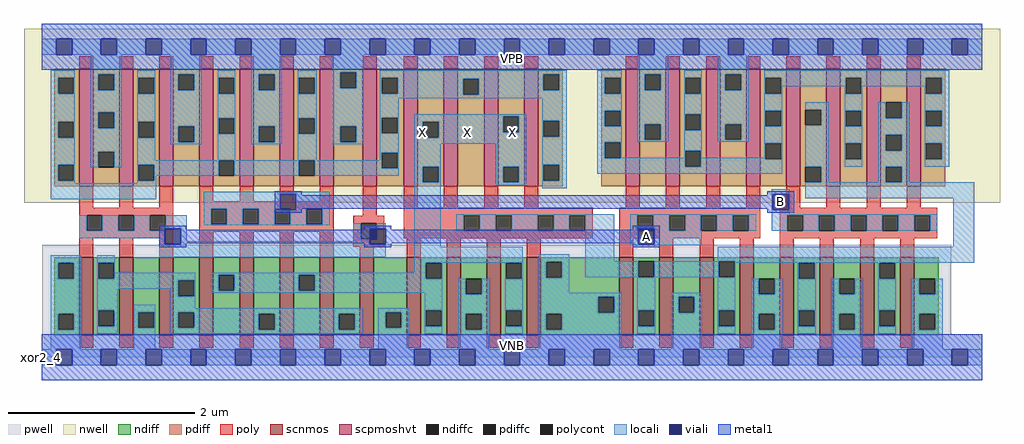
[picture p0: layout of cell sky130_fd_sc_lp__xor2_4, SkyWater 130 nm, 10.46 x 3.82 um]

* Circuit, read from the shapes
.subckt sky130_fd_sc_lp__xor2_4 A B VGND VNB VPB VPWR X
XM1 n1 A VGND VNB sky130_fd_pr__nfet_01v8 w=0.84 l=0.15 m=4
XM2 X B n1 VNB sky130_fd_pr__nfet_01v8 w=0.84 l=0.15 m=4
XM3 X n2 VGND VNB sky130_fd_pr__nfet_01v8 w=0.84 l=0.15 m=4
XM4 n2 A VGND VNB sky130_fd_pr__nfet_01v8 w=0.84 l=0.15 m=4
XM5 n2 B VGND VNB sky130_fd_pr__nfet_01v8 w=0.84 l=0.15 m=4
XM6 VPWR A n3 VPB sky130_fd_pr__pfet_01v8_hvt w=1.26 l=0.15 m=4
XM7 n3 B VPWR VPB sky130_fd_pr__pfet_01v8_hvt w=1.26 l=0.15 m=4
XM8 X n2 n3 VPB sky130_fd_pr__pfet_01v8_hvt w=1.26 l=0.15 m=4
XM9 VPWR A n4 VPB sky130_fd_pr__pfet_01v8_hvt w=1.26 l=0.15 m=4
XM10 n2 B n4 VPB sky130_fd_pr__pfet_01v8_hvt w=1.26 l=0.15 m=4
.ends

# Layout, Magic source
magic
tech sky130A
magscale 1 2
<< nwell >>
rect -38 331 2054 704
<< pwell >>
rect 1 49 1949 241
rect 0 0 2016 49
<< scnmos >>
rect 80 47 110 215
rect 166 47 196 215
rect 252 47 282 215
rect 338 47 368 215
rect 424 47 454 215
rect 510 47 540 215
rect 596 47 626 215
rect 682 47 712 215
rect 782 47 812 215
rect 868 47 898 215
rect 954 47 984 215
rect 1040 47 1070 215
rect 1238 47 1268 215
rect 1324 47 1354 215
rect 1410 47 1440 215
rect 1496 47 1526 215
rect 1582 47 1612 215
rect 1668 47 1698 215
rect 1754 47 1784 215
rect 1840 47 1870 215
<< scpmoshvt >>
rect 80 367 110 619
rect 166 367 196 619
rect 252 367 282 619
rect 338 367 368 619
rect 424 367 454 619
rect 510 367 540 619
rect 596 367 626 619
rect 688 367 718 619
rect 776 367 806 619
rect 862 367 892 619
rect 948 367 978 619
rect 1034 367 1064 619
rect 1252 367 1282 619
rect 1338 367 1368 619
rect 1424 367 1454 619
rect 1510 367 1540 619
rect 1596 367 1626 619
rect 1682 367 1712 619
rect 1768 367 1798 619
rect 1854 367 1884 619
<< ndiff >>
rect 27 203 80 215
rect 27 169 35 203
rect 69 169 80 203
rect 27 93 80 169
rect 27 59 35 93
rect 69 59 80 93
rect 27 47 80 59
rect 110 203 166 215
rect 110 169 121 203
rect 155 169 166 203
rect 110 101 166 169
rect 110 67 121 101
rect 155 67 166 101
rect 110 47 166 67
rect 196 97 252 215
rect 196 63 207 97
rect 241 63 252 97
rect 196 47 252 63
rect 282 165 338 215
rect 282 131 293 165
rect 327 131 338 165
rect 282 97 338 131
rect 282 63 293 97
rect 327 63 338 97
rect 282 47 338 63
rect 368 177 424 215
rect 368 143 379 177
rect 413 143 424 177
rect 368 47 424 143
rect 454 93 510 215
rect 454 59 465 93
rect 499 59 510 93
rect 454 47 510 59
rect 540 177 596 215
rect 540 143 551 177
rect 585 143 596 177
rect 540 47 596 143
rect 626 93 682 215
rect 626 59 637 93
rect 671 59 682 93
rect 626 47 682 59
rect 712 97 782 215
rect 712 63 737 97
rect 771 63 782 97
rect 712 47 782 63
rect 812 203 868 215
rect 812 169 823 203
rect 857 169 868 203
rect 812 101 868 169
rect 812 67 823 101
rect 857 67 868 101
rect 812 47 868 67
rect 898 169 954 215
rect 898 135 909 169
rect 943 135 954 169
rect 898 93 954 135
rect 898 59 909 93
rect 943 59 954 93
rect 898 47 954 59
rect 984 203 1040 215
rect 984 169 995 203
rect 1029 169 1040 203
rect 984 101 1040 169
rect 984 67 995 101
rect 1029 67 1040 101
rect 984 47 1040 67
rect 1070 205 1238 215
rect 1070 171 1081 205
rect 1115 171 1238 205
rect 1070 130 1238 171
rect 1070 96 1193 130
rect 1227 96 1238 130
rect 1070 93 1238 96
rect 1070 59 1081 93
rect 1115 59 1238 93
rect 1070 47 1238 59
rect 1268 206 1324 215
rect 1268 172 1279 206
rect 1313 172 1324 206
rect 1268 101 1324 172
rect 1268 67 1279 101
rect 1313 67 1324 101
rect 1268 47 1324 67
rect 1354 130 1410 215
rect 1354 96 1365 130
rect 1399 96 1410 130
rect 1354 47 1410 96
rect 1440 206 1496 215
rect 1440 172 1451 206
rect 1485 172 1496 206
rect 1440 101 1496 172
rect 1440 67 1451 101
rect 1485 67 1496 101
rect 1440 47 1496 67
rect 1526 169 1582 215
rect 1526 135 1537 169
rect 1571 135 1582 169
rect 1526 93 1582 135
rect 1526 59 1537 93
rect 1571 59 1582 93
rect 1526 47 1582 59
rect 1612 203 1668 215
rect 1612 169 1623 203
rect 1657 169 1668 203
rect 1612 101 1668 169
rect 1612 67 1623 101
rect 1657 67 1668 101
rect 1612 47 1668 67
rect 1698 169 1754 215
rect 1698 135 1709 169
rect 1743 135 1754 169
rect 1698 93 1754 135
rect 1698 59 1709 93
rect 1743 59 1754 93
rect 1698 47 1754 59
rect 1784 203 1840 215
rect 1784 169 1795 203
rect 1829 169 1840 203
rect 1784 101 1840 169
rect 1784 67 1795 101
rect 1829 67 1840 101
rect 1784 47 1840 67
rect 1870 169 1923 215
rect 1870 135 1881 169
rect 1915 135 1923 169
rect 1870 93 1923 135
rect 1870 59 1881 93
rect 1915 59 1923 93
rect 1870 47 1923 59
<< pdiff >>
rect 27 599 80 619
rect 27 565 35 599
rect 69 565 80 599
rect 27 505 80 565
rect 27 471 35 505
rect 69 471 80 505
rect 27 413 80 471
rect 27 379 35 413
rect 69 379 80 413
rect 27 367 80 379
rect 110 607 166 619
rect 110 573 121 607
rect 155 573 166 607
rect 110 525 166 573
rect 110 491 121 525
rect 155 491 166 525
rect 110 441 166 491
rect 110 407 121 441
rect 155 407 166 441
rect 110 367 166 407
rect 196 599 252 619
rect 196 565 207 599
rect 241 565 252 599
rect 196 505 252 565
rect 196 471 207 505
rect 241 471 252 505
rect 196 413 252 471
rect 196 379 207 413
rect 241 379 252 413
rect 196 367 252 379
rect 282 607 338 619
rect 282 573 293 607
rect 327 573 338 607
rect 282 495 338 573
rect 282 461 293 495
rect 327 461 338 495
rect 282 367 338 461
rect 368 599 424 619
rect 368 565 379 599
rect 413 565 424 599
rect 368 513 424 565
rect 368 479 379 513
rect 413 479 424 513
rect 368 423 424 479
rect 368 389 379 423
rect 413 389 424 423
rect 368 367 424 389
rect 454 607 510 619
rect 454 573 465 607
rect 499 573 510 607
rect 454 495 510 573
rect 454 461 465 495
rect 499 461 510 495
rect 454 367 510 461
rect 540 599 596 619
rect 540 565 551 599
rect 585 565 596 599
rect 540 513 596 565
rect 540 479 551 513
rect 585 479 596 513
rect 540 423 596 479
rect 540 389 551 423
rect 585 389 596 423
rect 540 367 596 389
rect 626 611 688 619
rect 626 577 640 611
rect 674 577 688 611
rect 626 495 688 577
rect 626 461 640 495
rect 674 461 688 495
rect 626 367 688 461
rect 718 599 776 619
rect 718 565 729 599
rect 763 565 776 599
rect 718 514 776 565
rect 718 480 729 514
rect 763 480 776 514
rect 718 439 776 480
rect 718 405 729 439
rect 763 405 776 439
rect 718 367 776 405
rect 806 505 862 619
rect 806 471 817 505
rect 851 471 862 505
rect 806 409 862 471
rect 806 375 817 409
rect 851 375 862 409
rect 806 367 862 375
rect 892 597 948 619
rect 892 563 903 597
rect 937 563 948 597
rect 892 367 948 563
rect 978 517 1034 619
rect 978 483 989 517
rect 1023 483 1034 517
rect 978 409 1034 483
rect 978 375 989 409
rect 1023 375 1034 409
rect 978 367 1034 375
rect 1064 607 1117 619
rect 1064 573 1075 607
rect 1109 573 1117 607
rect 1064 507 1117 573
rect 1064 473 1075 507
rect 1109 473 1117 507
rect 1064 413 1117 473
rect 1064 379 1075 413
rect 1109 379 1117 413
rect 1064 367 1117 379
rect 1199 599 1252 619
rect 1199 565 1207 599
rect 1241 565 1252 599
rect 1199 529 1252 565
rect 1199 495 1207 529
rect 1241 495 1252 529
rect 1199 461 1252 495
rect 1199 427 1207 461
rect 1241 427 1252 461
rect 1199 367 1252 427
rect 1282 607 1338 619
rect 1282 573 1293 607
rect 1327 573 1338 607
rect 1282 500 1338 573
rect 1282 466 1293 500
rect 1327 466 1338 500
rect 1282 367 1338 466
rect 1368 599 1424 619
rect 1368 565 1379 599
rect 1413 565 1424 599
rect 1368 521 1424 565
rect 1368 487 1379 521
rect 1413 487 1424 521
rect 1368 443 1424 487
rect 1368 409 1379 443
rect 1413 409 1424 443
rect 1368 367 1424 409
rect 1454 607 1510 619
rect 1454 573 1465 607
rect 1499 573 1510 607
rect 1454 500 1510 573
rect 1454 466 1465 500
rect 1499 466 1510 500
rect 1454 367 1510 466
rect 1540 599 1596 619
rect 1540 565 1551 599
rect 1585 565 1596 599
rect 1540 529 1596 565
rect 1540 495 1551 529
rect 1585 495 1596 529
rect 1540 459 1596 495
rect 1540 425 1551 459
rect 1585 425 1596 459
rect 1540 367 1596 425
rect 1626 531 1682 619
rect 1626 497 1637 531
rect 1671 497 1682 531
rect 1626 409 1682 497
rect 1626 375 1637 409
rect 1671 375 1682 409
rect 1626 367 1682 375
rect 1712 599 1768 619
rect 1712 565 1723 599
rect 1757 565 1768 599
rect 1712 529 1768 565
rect 1712 495 1723 529
rect 1757 495 1768 529
rect 1712 459 1768 495
rect 1712 425 1723 459
rect 1757 425 1768 459
rect 1712 367 1768 425
rect 1798 547 1854 619
rect 1798 513 1809 547
rect 1843 513 1854 547
rect 1798 477 1854 513
rect 1798 443 1809 477
rect 1843 443 1854 477
rect 1798 409 1854 443
rect 1798 375 1809 409
rect 1843 375 1854 409
rect 1798 367 1854 375
rect 1884 599 1937 619
rect 1884 565 1895 599
rect 1929 565 1937 599
rect 1884 529 1937 565
rect 1884 495 1895 529
rect 1929 495 1937 529
rect 1884 459 1937 495
rect 1884 425 1895 459
rect 1929 425 1937 459
rect 1884 367 1937 425
<< ndiffc >>
rect 35 169 69 203
rect 35 59 69 93
rect 121 169 155 203
rect 121 67 155 101
rect 207 63 241 97
rect 293 131 327 165
rect 293 63 327 97
rect 379 143 413 177
rect 465 59 499 93
rect 551 143 585 177
rect 637 59 671 93
rect 737 63 771 97
rect 823 169 857 203
rect 823 67 857 101
rect 909 135 943 169
rect 909 59 943 93
rect 995 169 1029 203
rect 995 67 1029 101
rect 1081 171 1115 205
rect 1193 96 1227 130
rect 1081 59 1115 93
rect 1279 172 1313 206
rect 1279 67 1313 101
rect 1365 96 1399 130
rect 1451 172 1485 206
rect 1451 67 1485 101
rect 1537 135 1571 169
rect 1537 59 1571 93
rect 1623 169 1657 203
rect 1623 67 1657 101
rect 1709 135 1743 169
rect 1709 59 1743 93
rect 1795 169 1829 203
rect 1795 67 1829 101
rect 1881 135 1915 169
rect 1881 59 1915 93
<< pdiffc >>
rect 35 565 69 599
rect 35 471 69 505
rect 35 379 69 413
rect 121 573 155 607
rect 121 491 155 525
rect 121 407 155 441
rect 207 565 241 599
rect 207 471 241 505
rect 207 379 241 413
rect 293 573 327 607
rect 293 461 327 495
rect 379 565 413 599
rect 379 479 413 513
rect 379 389 413 423
rect 465 573 499 607
rect 465 461 499 495
rect 551 565 585 599
rect 551 479 585 513
rect 551 389 585 423
rect 640 577 674 611
rect 640 461 674 495
rect 729 565 763 599
rect 729 480 763 514
rect 729 405 763 439
rect 817 471 851 505
rect 817 375 851 409
rect 903 563 937 597
rect 989 483 1023 517
rect 989 375 1023 409
rect 1075 573 1109 607
rect 1075 473 1109 507
rect 1075 379 1109 413
rect 1207 565 1241 599
rect 1207 495 1241 529
rect 1207 427 1241 461
rect 1293 573 1327 607
rect 1293 466 1327 500
rect 1379 565 1413 599
rect 1379 487 1413 521
rect 1379 409 1413 443
rect 1465 573 1499 607
rect 1465 466 1499 500
rect 1551 565 1585 599
rect 1551 495 1585 529
rect 1551 425 1585 459
rect 1637 497 1671 531
rect 1637 375 1671 409
rect 1723 565 1757 599
rect 1723 495 1757 529
rect 1723 425 1757 459
rect 1809 513 1843 547
rect 1809 443 1843 477
rect 1809 375 1843 409
rect 1895 565 1929 599
rect 1895 495 1929 529
rect 1895 425 1929 459
<< poly >>
rect 80 619 110 645
rect 166 619 196 645
rect 252 619 282 645
rect 338 619 368 645
rect 424 619 454 645
rect 510 619 540 645
rect 596 619 626 645
rect 688 619 718 645
rect 776 619 806 645
rect 862 619 892 645
rect 948 619 978 645
rect 1034 619 1064 645
rect 1252 619 1282 645
rect 1338 619 1368 645
rect 1424 619 1454 645
rect 1510 619 1540 645
rect 1596 619 1626 645
rect 1682 619 1712 645
rect 1768 619 1798 645
rect 1854 619 1884 645
rect 80 321 110 367
rect 166 321 196 367
rect 252 321 282 367
rect 80 305 282 321
rect 80 271 96 305
rect 130 271 164 305
rect 198 271 232 305
rect 266 271 282 305
rect 80 255 282 271
rect 80 215 110 255
rect 166 215 196 255
rect 252 215 282 255
rect 338 335 368 367
rect 424 335 454 367
rect 510 335 540 367
rect 596 335 626 367
rect 338 319 626 335
rect 338 285 363 319
rect 397 285 431 319
rect 465 285 499 319
rect 533 285 567 319
rect 601 285 626 319
rect 688 303 718 367
rect 776 321 806 367
rect 862 321 892 367
rect 948 321 978 367
rect 1034 321 1064 367
rect 1252 321 1282 367
rect 1338 321 1368 367
rect 1424 321 1454 367
rect 1510 321 1540 367
rect 1596 321 1626 367
rect 1682 321 1712 367
rect 1768 321 1798 367
rect 1854 321 1884 367
rect 776 305 1181 321
rect 338 269 626 285
rect 338 215 368 269
rect 424 215 454 269
rect 510 215 540 269
rect 596 215 626 269
rect 668 287 734 303
rect 668 253 684 287
rect 718 253 734 287
rect 776 271 905 305
rect 939 271 973 305
rect 1007 271 1063 305
rect 1097 271 1131 305
rect 1165 271 1181 305
rect 776 255 1181 271
rect 1238 305 1540 321
rect 1238 271 1277 305
rect 1311 271 1345 305
rect 1379 271 1413 305
rect 1447 271 1481 305
rect 1515 271 1540 305
rect 1238 255 1540 271
rect 1582 305 1920 321
rect 1582 271 1598 305
rect 1632 271 1666 305
rect 1700 271 1734 305
rect 1768 271 1802 305
rect 1836 271 1870 305
rect 1904 271 1920 305
rect 1582 255 1920 271
rect 668 237 734 253
rect 682 215 712 237
rect 782 215 812 255
rect 868 215 898 255
rect 954 215 984 255
rect 1040 215 1070 255
rect 1238 215 1268 255
rect 1324 215 1354 255
rect 1410 215 1440 255
rect 1496 215 1526 255
rect 1582 215 1612 255
rect 1668 215 1698 255
rect 1754 215 1784 255
rect 1840 215 1870 255
rect 80 21 110 47
rect 166 21 196 47
rect 252 21 282 47
rect 338 21 368 47
rect 424 21 454 47
rect 510 21 540 47
rect 596 21 626 47
rect 682 21 712 47
rect 782 21 812 47
rect 868 21 898 47
rect 954 21 984 47
rect 1040 21 1070 47
rect 1238 21 1268 47
rect 1324 21 1354 47
rect 1410 21 1440 47
rect 1496 21 1526 47
rect 1582 21 1612 47
rect 1668 21 1698 47
rect 1754 21 1784 47
rect 1840 21 1870 47
<< polycont >>
rect 96 271 130 305
rect 164 271 198 305
rect 232 271 266 305
rect 363 285 397 319
rect 431 285 465 319
rect 499 285 533 319
rect 567 285 601 319
rect 684 253 718 287
rect 905 271 939 305
rect 973 271 1007 305
rect 1063 271 1097 305
rect 1131 271 1165 305
rect 1277 271 1311 305
rect 1345 271 1379 305
rect 1413 271 1447 305
rect 1481 271 1515 305
rect 1598 271 1632 305
rect 1666 271 1700 305
rect 1734 271 1768 305
rect 1802 271 1836 305
rect 1870 271 1904 305
<< locali >>
rect 0 649 31 683
rect 65 649 127 683
rect 161 649 223 683
rect 257 649 319 683
rect 353 649 415 683
rect 449 649 511 683
rect 545 649 607 683
rect 641 649 703 683
rect 737 649 799 683
rect 833 649 895 683
rect 929 649 991 683
rect 1025 649 1087 683
rect 1121 649 1183 683
rect 1217 649 1279 683
rect 1313 649 1375 683
rect 1409 649 1471 683
rect 1505 649 1567 683
rect 1601 649 1663 683
rect 1697 649 1759 683
rect 1793 649 1855 683
rect 1889 649 1951 683
rect 1985 649 2016 683
rect 19 599 71 615
rect 19 565 35 599
rect 69 565 71 599
rect 19 505 71 565
rect 19 471 35 505
rect 69 471 71 505
rect 19 413 71 471
rect 19 379 35 413
rect 69 379 71 413
rect 105 607 171 649
rect 105 573 121 607
rect 155 573 171 607
rect 105 525 171 573
rect 105 491 121 525
rect 155 491 171 525
rect 105 441 171 491
rect 105 407 121 441
rect 155 407 171 441
rect 205 599 243 615
rect 205 565 207 599
rect 241 565 243 599
rect 205 505 243 565
rect 205 471 207 505
rect 241 471 243 505
rect 205 423 243 471
rect 277 607 343 649
rect 277 573 293 607
rect 327 573 343 607
rect 277 495 343 573
rect 277 461 293 495
rect 327 461 343 495
rect 277 457 343 461
rect 377 599 415 615
rect 377 565 379 599
rect 413 565 415 599
rect 377 513 415 565
rect 377 479 379 513
rect 413 479 415 513
rect 377 423 415 479
rect 449 607 515 649
rect 449 573 465 607
rect 499 573 515 607
rect 449 495 515 573
rect 449 461 465 495
rect 499 461 515 495
rect 449 457 515 461
rect 549 599 590 615
rect 549 565 551 599
rect 585 565 590 599
rect 549 513 590 565
rect 549 479 551 513
rect 585 479 590 513
rect 549 423 590 479
rect 624 611 690 649
rect 624 577 640 611
rect 674 577 690 611
rect 624 495 690 577
rect 624 461 640 495
rect 674 461 690 495
rect 624 457 690 461
rect 725 607 1125 615
rect 725 599 1075 607
rect 725 565 729 599
rect 763 597 1075 599
rect 763 565 903 597
rect 725 563 903 565
rect 937 573 1075 597
rect 1109 573 1125 607
rect 937 563 1125 573
rect 725 555 1125 563
rect 725 514 765 555
rect 725 480 729 514
rect 763 480 765 514
rect 725 439 765 480
rect 725 423 729 439
rect 205 413 379 423
rect 19 373 71 379
rect 205 379 207 413
rect 241 389 379 413
rect 413 389 551 423
rect 585 405 729 423
rect 763 405 765 439
rect 585 389 765 405
rect 799 517 1039 521
rect 799 505 989 517
rect 799 471 817 505
rect 851 483 989 505
rect 1023 483 1039 517
rect 851 471 1039 483
rect 799 458 1039 471
rect 799 409 855 458
rect 241 379 245 389
rect 205 373 245 379
rect 19 339 245 373
rect 799 375 817 409
rect 851 375 855 409
rect 347 350 617 355
rect 347 319 511 350
rect 545 319 617 350
rect 80 271 96 305
rect 130 271 164 305
rect 198 271 232 305
rect 266 276 311 305
rect 347 285 363 319
rect 397 285 431 319
rect 465 285 499 319
rect 545 316 567 319
rect 533 285 567 316
rect 601 285 617 319
rect 347 283 617 285
rect 80 255 264 271
rect 252 242 264 255
rect 298 249 311 276
rect 668 253 684 287
rect 718 276 737 287
rect 668 249 703 253
rect 298 242 703 249
rect 19 203 85 219
rect 19 169 35 203
rect 69 169 85 203
rect 19 93 85 169
rect 19 59 35 93
rect 69 59 85 93
rect 19 17 85 59
rect 119 203 157 219
rect 252 215 737 242
rect 799 237 855 375
rect 973 409 1039 458
rect 973 375 989 409
rect 1023 375 1039 409
rect 973 369 1039 375
rect 1073 507 1125 555
rect 1073 473 1075 507
rect 1109 473 1125 507
rect 1073 413 1125 473
rect 1073 379 1075 413
rect 1109 379 1125 413
rect 1191 599 1243 615
rect 1191 565 1207 599
rect 1241 565 1243 599
rect 1191 529 1243 565
rect 1191 495 1207 529
rect 1241 495 1243 529
rect 1191 461 1243 495
rect 1277 607 1343 649
rect 1277 573 1293 607
rect 1327 573 1343 607
rect 1277 500 1343 573
rect 1277 466 1293 500
rect 1327 466 1343 500
rect 1277 462 1343 466
rect 1377 599 1415 615
rect 1377 565 1379 599
rect 1413 565 1415 599
rect 1377 521 1415 565
rect 1377 487 1379 521
rect 1413 487 1415 521
rect 1191 427 1207 461
rect 1241 428 1243 461
rect 1377 443 1415 487
rect 1449 607 1515 649
rect 1449 573 1465 607
rect 1499 573 1515 607
rect 1449 500 1515 573
rect 1449 466 1465 500
rect 1499 466 1515 500
rect 1449 462 1515 466
rect 1549 599 1945 615
rect 1549 565 1551 599
rect 1585 581 1723 599
rect 1585 565 1587 581
rect 1549 529 1587 565
rect 1721 565 1723 581
rect 1757 581 1895 599
rect 1757 565 1759 581
rect 1549 495 1551 529
rect 1585 495 1587 529
rect 1377 428 1379 443
rect 1241 427 1379 428
rect 1191 409 1379 427
rect 1413 428 1415 443
rect 1549 459 1587 495
rect 1549 428 1551 459
rect 1413 425 1551 428
rect 1585 425 1587 459
rect 1413 409 1587 425
rect 1191 394 1587 409
rect 1637 531 1687 547
rect 1671 497 1687 531
rect 1637 409 1687 497
rect 1721 529 1759 565
rect 1893 565 1895 581
rect 1929 565 1945 599
rect 1721 495 1723 529
rect 1757 495 1759 529
rect 1721 459 1759 495
rect 1721 425 1723 459
rect 1757 425 1759 459
rect 1721 409 1759 425
rect 1793 513 1809 547
rect 1843 513 1859 547
rect 1793 477 1859 513
rect 1793 443 1809 477
rect 1843 443 1859 477
rect 1793 409 1859 443
rect 1893 529 1945 565
rect 1893 495 1895 529
rect 1929 495 1945 529
rect 1893 459 1945 495
rect 1893 425 1895 459
rect 1929 425 1945 459
rect 1893 409 1945 425
rect 1073 363 1125 379
rect 1671 375 1687 409
rect 1793 375 1809 409
rect 1843 375 1859 409
rect 1565 350 1603 360
rect 1565 316 1567 350
rect 1601 316 1603 350
rect 1637 341 1999 375
rect 1565 307 1603 316
rect 889 305 1227 307
rect 889 271 905 305
rect 939 271 973 305
rect 1007 271 1063 305
rect 1097 271 1131 305
rect 119 169 121 203
rect 155 181 157 203
rect 799 203 1031 237
rect 799 181 823 203
rect 155 169 329 181
rect 119 165 329 169
rect 119 147 293 165
rect 119 101 163 147
rect 277 131 293 147
rect 327 131 329 165
rect 363 177 823 181
rect 363 143 379 177
rect 413 143 551 177
rect 585 169 823 177
rect 857 169 859 203
rect 993 169 995 203
rect 1029 169 1031 203
rect 585 143 859 169
rect 363 139 859 143
rect 119 67 121 101
rect 155 67 163 101
rect 119 51 163 67
rect 197 97 243 113
rect 197 63 207 97
rect 241 63 243 97
rect 197 17 243 63
rect 277 105 329 131
rect 277 97 687 105
rect 277 63 293 97
rect 327 93 687 97
rect 327 63 465 93
rect 277 59 465 63
rect 499 59 637 93
rect 671 59 687 93
rect 277 51 687 59
rect 721 97 787 105
rect 721 63 737 97
rect 771 63 787 97
rect 721 17 787 63
rect 821 101 859 139
rect 821 67 823 101
rect 857 67 859 101
rect 821 51 859 67
rect 893 135 909 169
rect 943 135 959 169
rect 893 93 959 135
rect 893 59 909 93
rect 943 59 959 93
rect 893 17 959 59
rect 993 101 1031 169
rect 993 67 995 101
rect 1029 67 1031 101
rect 993 51 1031 67
rect 1065 205 1131 221
rect 1065 171 1081 205
rect 1115 171 1131 205
rect 1165 206 1227 305
rect 1261 305 1531 307
rect 1261 271 1277 305
rect 1311 276 1345 305
rect 1313 271 1345 276
rect 1379 271 1413 305
rect 1447 271 1481 305
rect 1515 271 1531 305
rect 1565 305 1920 307
rect 1565 271 1598 305
rect 1632 271 1666 305
rect 1700 271 1734 305
rect 1768 271 1802 305
rect 1836 271 1870 305
rect 1904 271 1920 305
rect 1261 242 1279 271
rect 1313 242 1415 271
rect 1261 240 1415 242
rect 1954 237 1999 341
rect 1449 206 1999 237
rect 1165 172 1279 206
rect 1313 172 1451 206
rect 1485 203 1999 206
rect 1485 172 1487 203
rect 1065 138 1131 171
rect 1065 130 1243 138
rect 1065 96 1193 130
rect 1227 96 1243 130
rect 1065 93 1243 96
rect 1065 59 1081 93
rect 1115 59 1243 93
rect 1065 17 1243 59
rect 1277 101 1315 172
rect 1277 67 1279 101
rect 1313 67 1315 101
rect 1277 51 1315 67
rect 1349 130 1415 138
rect 1349 96 1365 130
rect 1399 96 1415 130
rect 1349 17 1415 96
rect 1449 101 1487 172
rect 1621 169 1623 203
rect 1657 169 1659 203
rect 1793 169 1795 203
rect 1829 169 1831 203
rect 1449 67 1451 101
rect 1485 67 1487 101
rect 1449 51 1487 67
rect 1521 135 1537 169
rect 1571 135 1587 169
rect 1521 93 1587 135
rect 1521 59 1537 93
rect 1571 59 1587 93
rect 1521 17 1587 59
rect 1621 101 1659 169
rect 1621 67 1623 101
rect 1657 67 1659 101
rect 1621 51 1659 67
rect 1693 135 1709 169
rect 1743 135 1759 169
rect 1693 93 1759 135
rect 1693 59 1709 93
rect 1743 59 1759 93
rect 1693 17 1759 59
rect 1793 101 1831 169
rect 1793 67 1795 101
rect 1829 67 1831 101
rect 1793 51 1831 67
rect 1865 135 1881 169
rect 1915 135 1931 169
rect 1865 93 1931 135
rect 1865 59 1881 93
rect 1915 59 1931 93
rect 1865 17 1931 59
rect 0 -17 31 17
rect 65 -17 127 17
rect 161 -17 223 17
rect 257 -17 319 17
rect 353 -17 415 17
rect 449 -17 511 17
rect 545 -17 607 17
rect 641 -17 703 17
rect 737 -17 799 17
rect 833 -17 895 17
rect 929 -17 991 17
rect 1025 -17 1087 17
rect 1121 -17 1183 17
rect 1217 -17 1279 17
rect 1313 -17 1375 17
rect 1409 -17 1471 17
rect 1505 -17 1567 17
rect 1601 -17 1663 17
rect 1697 -17 1759 17
rect 1793 -17 1855 17
rect 1889 -17 1951 17
rect 1985 -17 2016 17
<< viali >>
rect 31 649 65 683
rect 127 649 161 683
rect 223 649 257 683
rect 319 649 353 683
rect 415 649 449 683
rect 511 649 545 683
rect 607 649 641 683
rect 703 649 737 683
rect 799 649 833 683
rect 895 649 929 683
rect 991 649 1025 683
rect 1087 649 1121 683
rect 1183 649 1217 683
rect 1279 649 1313 683
rect 1375 649 1409 683
rect 1471 649 1505 683
rect 1567 649 1601 683
rect 1663 649 1697 683
rect 1759 649 1793 683
rect 1855 649 1889 683
rect 1951 649 1985 683
rect 511 319 545 350
rect 511 316 533 319
rect 533 316 545 319
rect 264 271 266 276
rect 266 271 298 276
rect 264 242 298 271
rect 703 253 718 276
rect 718 253 737 276
rect 703 242 737 253
rect 1567 316 1601 350
rect 1279 271 1311 276
rect 1311 271 1313 276
rect 1279 242 1313 271
rect 31 -17 65 17
rect 127 -17 161 17
rect 223 -17 257 17
rect 319 -17 353 17
rect 415 -17 449 17
rect 511 -17 545 17
rect 607 -17 641 17
rect 703 -17 737 17
rect 799 -17 833 17
rect 895 -17 929 17
rect 991 -17 1025 17
rect 1087 -17 1121 17
rect 1183 -17 1217 17
rect 1279 -17 1313 17
rect 1375 -17 1409 17
rect 1471 -17 1505 17
rect 1567 -17 1601 17
rect 1663 -17 1697 17
rect 1759 -17 1793 17
rect 1855 -17 1889 17
rect 1951 -17 1985 17
<< metal1 >>
rect 0 683 2016 715
rect 0 649 31 683
rect 65 649 127 683
rect 161 649 223 683
rect 257 649 319 683
rect 353 649 415 683
rect 449 649 511 683
rect 545 649 607 683
rect 641 649 703 683
rect 737 649 799 683
rect 833 649 895 683
rect 929 649 991 683
rect 1025 649 1087 683
rect 1121 649 1183 683
rect 1217 649 1279 683
rect 1313 649 1375 683
rect 1409 649 1471 683
rect 1505 649 1567 683
rect 1601 649 1663 683
rect 1697 649 1759 683
rect 1793 649 1855 683
rect 1889 649 1951 683
rect 1985 649 2016 683
rect 0 617 2016 649
rect 499 350 557 356
rect 499 316 511 350
rect 545 347 557 350
rect 1555 350 1613 356
rect 1555 347 1567 350
rect 545 319 1567 347
rect 545 316 557 319
rect 499 310 557 316
rect 1555 316 1567 319
rect 1601 316 1613 350
rect 1555 310 1613 316
rect 252 276 310 282
rect 252 242 264 276
rect 298 273 310 276
rect 691 276 749 282
rect 691 273 703 276
rect 298 245 703 273
rect 298 242 310 245
rect 252 236 310 242
rect 691 242 703 245
rect 737 273 749 276
rect 1267 276 1325 282
rect 1267 273 1279 276
rect 737 245 1279 273
rect 737 242 749 245
rect 691 236 749 242
rect 1267 242 1279 245
rect 1313 242 1325 276
rect 1267 236 1325 242
rect 0 17 2016 49
rect 0 -17 31 17
rect 65 -17 127 17
rect 161 -17 223 17
rect 257 -17 319 17
rect 353 -17 415 17
rect 449 -17 511 17
rect 545 -17 607 17
rect 641 -17 703 17
rect 737 -17 799 17
rect 833 -17 895 17
rect 929 -17 991 17
rect 1025 -17 1087 17
rect 1121 -17 1183 17
rect 1217 -17 1279 17
rect 1313 -17 1375 17
rect 1409 -17 1471 17
rect 1505 -17 1567 17
rect 1601 -17 1663 17
rect 1697 -17 1759 17
rect 1793 -17 1855 17
rect 1889 -17 1951 17
rect 1985 -17 2016 17
rect 0 -49 2016 -17
<< labels >>
flabel pwell s 0 0 2016 49 0 FreeSans 200 0 0 0 VNB
port 4 nsew ground bidirectional
flabel nwell s 0 617 2016 666 0 FreeSans 200 0 0 0 VPB
port 5 nsew power bidirectional
rlabel comment s 0 0 0 0 4 xor2_4
flabel metal1 s 1279 242 1313 276 0 FreeSans 340 0 0 0 A
port 1 nsew signal input
flabel metal1 s 1567 316 1601 350 0 FreeSans 340 0 0 0 B
port 2 nsew signal input
flabel metal1 s 0 617 2016 666 0 FreeSans 340 0 0 0 VPWR
port 6 nsew power bidirectional
flabel metal1 s 0 0 2016 49 0 FreeSans 340 0 0 0 VGND
port 3 nsew ground bidirectional
flabel locali s 799 464 833 498 0 FreeSans 340 0 0 0 X
port 7 nsew signal output
flabel locali s 895 464 929 498 0 FreeSans 340 0 0 0 X
port 7 nsew signal output
flabel locali s 991 464 1025 498 0 FreeSans 340 0 0 0 X
port 7 nsew signal output
<< properties >>
string LEFsite unit
string LEFclass CORE
string FIXED_BBOX 0 0 2016 666
string GDS_FILE $PDKPATH/libs.ref/sky130_fd_sc_lp/gds/sky130_fd_sc_lp.gds
string LEFsymmetry X Y R90
string GDS_END 2074158
string GDS_START 2058060
<< end >>
